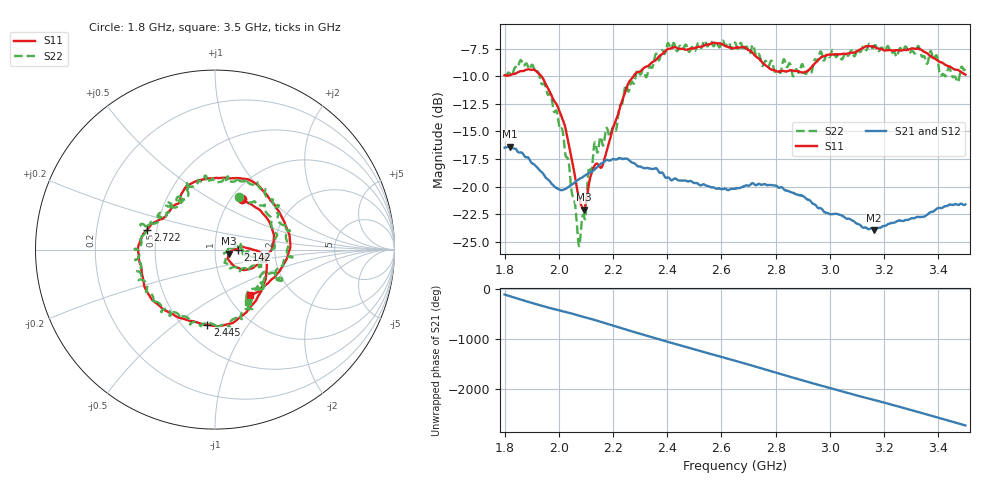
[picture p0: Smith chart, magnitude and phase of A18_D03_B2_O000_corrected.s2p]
! Created with skrf 1.9.0 (http://scikit-rf.org).
# Hz S RI R 50.0
!freq ReS11 ImS11 ReS21 ImS21 ReS12 ImS12 ReS22 ImS22
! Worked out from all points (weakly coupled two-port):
!   1601 points, 1.8 GHz to 3.5 GHz, reference 50 ohm
!   highest |S21| = -16.37 dB at 1.819 GHz (marker M1); lowest = -23.9 dB at 3.163 GHz (marker M2)
!   lowest |S11| = -22.1 dB at 2.092 GHz (marker M3), VSWR 1.17, Z = 58.1 - j2.65 ohm
!   |S11| at or under -10 dB: 1.936 GHz to 2.276 GHz (339.6 MHz wide, 16.1 % of centre)
!   |S22| runs from -25.4 to -6.8 dB; largest |S21 - S12| = 0.0026
!   S11 on the Smith chart (normalised r, x): 1.8 GHz: 1.12, +0.70; 2.142 GHz: 1.29, -0.00; 2.445 GHz: 0.65, -0.66; 2.722 GHz: 0.44, +0.12; 3.5 GHz: 1.26, -0.72
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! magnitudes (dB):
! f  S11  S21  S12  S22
! 1.8 GHz  -9.9  -16.5  -16.5  -9.8
! 1.819 GHz  -9.9  -16.4  -16.4  -9.7
! 1.903 GHz  -9.4  -17.9  -17.9  -9.0
! 1.968 GHz  -11.5  -19.5  -19.6  -11.6
! 2.015 GHz  -13.9  -20.3  -20.3  -15.0
! 2.072 GHz  -20.7  -19.4  -19.4  -25.1
! 2.084 GHz  -21.7  -19.2  -19.2  -23.3
! 2.092 GHz  -22.1  -19.1  -19.1  -22.6
! 2.112 GHz  -19.6  -18.7  -18.8  -18.2
! 2.142 GHz  -17.9  -18.2  -18.2  -16.9
! 2.209 GHz  -14.1  -17.5  -17.5  -14.9
! 2.26 GHz  -10.5  -17.6  -17.6  -11.2
! 2.367 GHz  -8.3  -18.6  -18.5  -8.5
! 2.445 GHz  -7.5  -19.4  -19.4  -7.3
! 2.65 GHz  -7.4  -20.2  -20.2  -6.9
! 2.722 GHz  -8.1  -19.8  -19.7  -7.6
! 2.934 GHz  -9.1  -21.5  -21.4  -9.6
! 3.163 GHz  -7.3  -23.9  -23.8  -7.3
! 3.217 GHz  -7.6  -23.4  -23.3  -7.4
! 3.327 GHz  -7.5  -22.7  -22.7  -7.3
! 3.468 GHz  -9.4  -21.6  -21.6  -10.4
! 3.5 GHz  -9.9  -21.6  -21.6  -9.2
